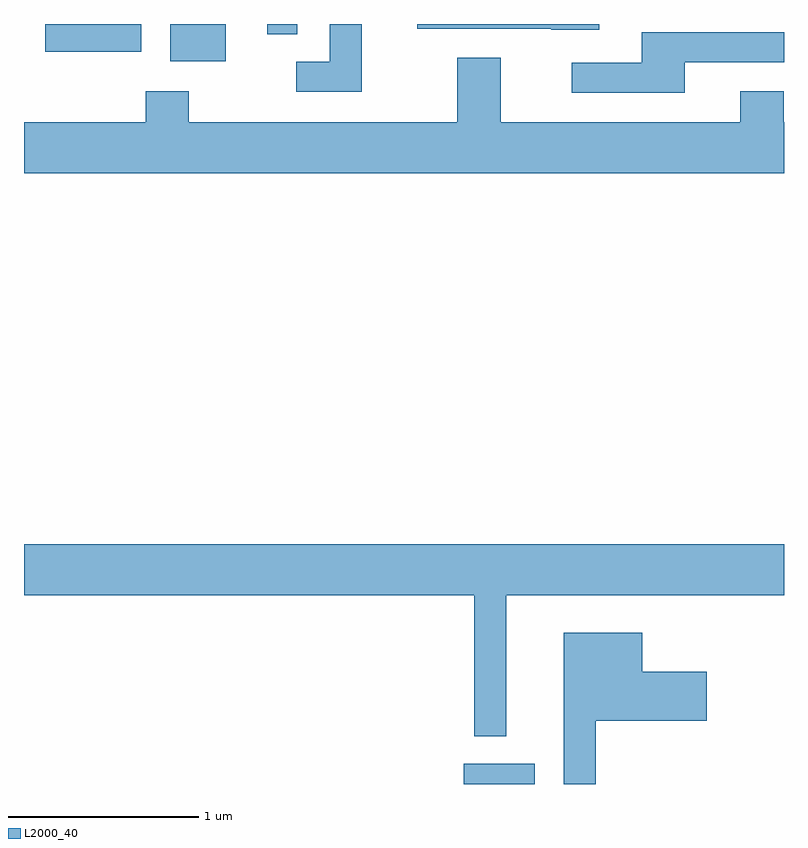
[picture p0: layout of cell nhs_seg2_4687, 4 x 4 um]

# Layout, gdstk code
import gdstk
lib = gdstk.Library(unit=1e-6, precision=1e-09)
def R(c, l, rs):  # rectangles x0, y0, x1, y1
    for r in rs: c.add(gdstk.rectangle(r[:2], r[2:], *l))
def P(c, l, *ps):  # polygons
    for p in ps: c.add(gdstk.Polygon(p, *l))
L2000_40 = (2000, 40)

nhs_seg2_4687 = lib.new_cell('nhs_seg2_4687')
R(nhs_seg2_4687, L2000_40, [(325.926,1011.802,326.299,1011.909), (324.381,1015.606,324.674,1015.802), (323.723,1015.656,324.229,1015.802), (324.891,1015.748,325.049,1015.802)])
P(nhs_seg2_4687, L2000_40, [(326.639,1015.802),(325.681,1015.802),(325.681,1015.776),(326.385,1015.776),(326.385,1015.771),(326.639,1015.771)],
  [(325.389,1015.802),(325.221,1015.802),(325.221,1015.604),(325.043,1015.604),(325.043,1015.446),(325.389,1015.446)],
  [(327.089,1015.601),(327.611,1015.601),(327.611,1015.759),(326.861,1015.759),(326.861,1015.599),(326.493,1015.599),(326.493,1015.441),(327.089,1015.441)],
  [(327.611,1015.284),(327.609,1015.284),(327.609,1015.449),(327.381,1015.449),(327.381,1015.284),(326.119,1015.284),(326.119,1015.624),(325.891,1015.624),(325.891,1015.284),(324.479,1015.284),(324.479,1015.449),(324.251,1015.449),(324.251,1015.284),(323.611,1015.284),(323.611,1015.016),(327.611,1015.016)],
  [(326.149,1012.796),(327.611,1012.796),(327.611,1013.064),(323.611,1013.064),(323.611,1012.796),(325.981,1012.796),(325.981,1012.053),(326.149,1012.053)],
  [(326.619,1012.136),(327.204,1012.136),(327.204,1012.394),(326.864,1012.394),(326.864,1012.599),(326.451,1012.599),(326.451,1011.802),(326.619,1011.802)])

lib.write_gds('nhs_seg2_4687.gds')
